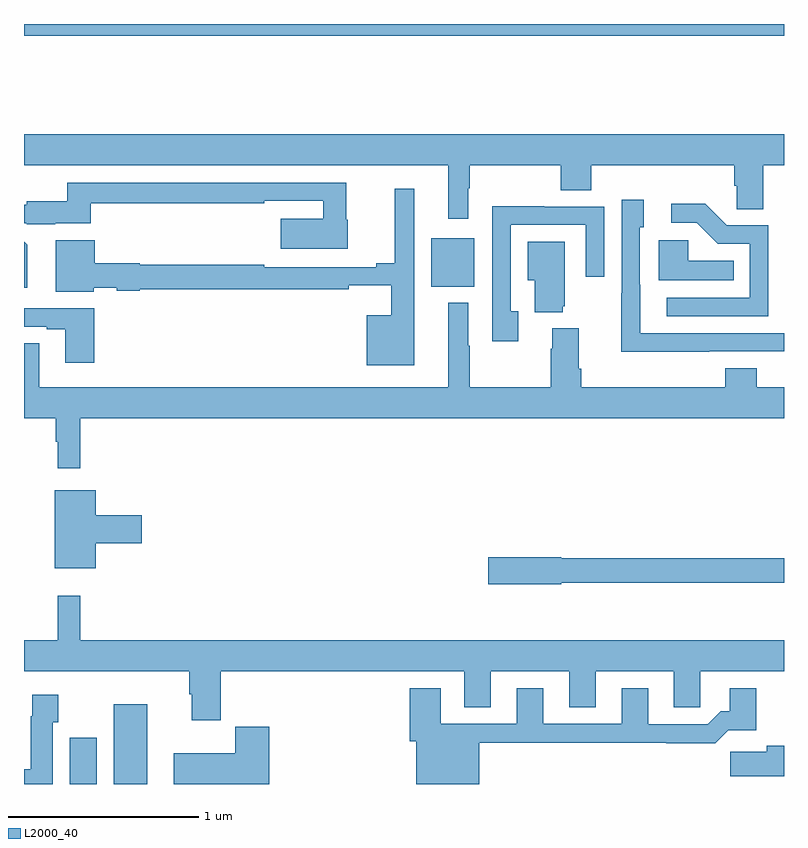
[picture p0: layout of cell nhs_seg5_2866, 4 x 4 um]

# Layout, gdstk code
import gdstk
lib = gdstk.Library(unit=1e-6, precision=1e-09)
def R(c, l, rs):  # rectangles x0, y0, x1, y1
    for r in rs: c.add(gdstk.rectangle(r[:2], r[2:], *l))
def P(c, l, *ps):  # polygons
    for p in ps: c.add(gdstk.Polygon(p, *l))
L2000_40 = (2000, 40)

nhs_seg5_2866 = lib.new_cell('nhs_seg5_2866')
R(nhs_seg5_2866, L2000_40, [(277.241,890.799,277.384,891.043), (277.472,890.799,277.648,891.22), (279.143,893.417,279.37,893.671), (277,894.736,281,894.799)])
P(nhs_seg5_2866, L2000_40, [(279.337,893.935),(279.347,893.935),(279.347,894.056),(279.826,894.056),(279.826,893.923),(279.986,893.923),(279.986,894.056),(280.739,894.056),(280.739,893.947),(280.752,893.947),(280.752,893.824),(280.891,893.824),(280.891,894.056),(281,894.056),(281,894.22),(277,894.22),(277,894.056),(279.233,894.056),(279.233,893.775),(279.337,893.775)],
  [(278.704,893.769),(278.696,893.769),(278.696,893.964),(277.227,893.964),(277.227,893.866),(277.014,893.866),(277.014,893.847),(277,893.847),(277,893.751),(277.014,893.751),(277.014,893.744),(277.164,893.744),(277.164,893.75),(277.351,893.75),(277.351,893.856),(278.264,893.856),(278.264,893.868),(278.575,893.868),(278.575,893.773),(278.352,893.773),(278.352,893.615),(278.704,893.615)],
  [(279.055,893.932),(278.951,893.932),(278.951,893.54),(278.855,893.54),(278.855,893.52),(278.264,893.52),(278.264,893.533),(277.608,893.533),(277.608,893.541),(277.372,893.541),(277.372,893.66),(277.166,893.66),(277.166,893.39),(277.368,893.39),(277.368,893.411),(277.488,893.411),(277.488,893.396),(277.608,893.396),(277.608,893.404),(278.708,893.404),(278.708,893.423),(278.934,893.423),(278.934,893.266),(278.804,893.266),(278.804,893.003),(279.055,893.003)],
  [(280.607,893.076),(281,893.076),(281,893.172),(280.243,893.172),(280.243,893.426),(280.242,893.426),(280.242,893.73),(280.261,893.73),(280.261,893.875),(280.146,893.875),(280.146,893.381),(280.144,893.381),(280.144,893.075),(280.607,893.075)],
  [(280.917,893.739),(280.698,893.739),(280.585,893.852),(280.407,893.852),(280.407,893.754),(280.541,893.754),(280.652,893.643),(280.821,893.643),(280.821,893.358),(280.383,893.358),(280.383,893.262),(280.917,893.262)],
  [(279.601,893.286),(279.561,893.286),(279.561,893.742),(279.957,893.742),(279.957,893.469),(280.053,893.469),(280.053,893.838),(279.737,893.838),(279.737,893.84),(279.465,893.84),(279.465,893.13),(279.601,893.13)],
  [(280.736,893.554),(280.497,893.554),(280.497,893.662),(280.34,893.662),(280.34,893.45),(280.736,893.45)],
  [(277.018,893.636),(277,893.654),(277,893.411),(277.018,893.411)],
  [(279.836,893.313),(279.847,893.313),(279.847,893.653),(279.65,893.653),(279.65,893.45),(279.689,893.45),(279.689,893.282),(279.836,893.282)],
  [(277.295,892.724),(281,892.724),(281,892.888),(280.856,892.888),(280.856,892.987),(280.691,892.987),(280.691,892.888),(279.932,892.888),(279.932,892.984),(279.919,892.984),(279.919,893.197),(279.779,893.197),(279.779,893.09),(279.772,893.09),(279.772,892.888),(279.347,892.888),(279.347,893.105),(279.337,893.105),(279.337,893.332),(279.233,893.332),(279.233,892.888),(277.081,892.888),(277.081,893.12),(277,893.12),(277,892.724),(277.167,892.724),(277.167,892.601),(277.178,892.601),(277.178,892.461),(277.295,892.461)],
  [(277.37,893.302),(277,893.302),(277,893.205),(277.121,893.205),(277.121,893.193),(277.217,893.193),(277.217,893.016),(277.37,893.016)],
  [(277.378,892.067),(277.621,892.067),(277.621,892.214),(277.378,892.214),(277.378,892.345),(277.163,892.345),(277.163,891.935),(277.378,891.935)],
  [(279.828,891.858),(281,891.858),(281,891.986),(279.828,891.986),(279.828,891.992),(279.444,891.992),(279.444,891.85),(279.828,891.85)],
  [(278.035,891.392),(279.317,891.392),(279.317,891.202),(279.457,891.202),(279.457,891.392),(279.869,891.392),(279.869,891.202),(280.009,891.202),(280.009,891.392),(280.421,891.392),(280.421,891.202),(280.56,891.202),(280.56,891.392),(281,891.392),(281,891.556),(277.295,891.556),(277.295,891.79),(277.178,891.79),(277.178,891.556),(277,891.556),(277,891.392),(277.871,891.392),(277.871,891.272),(277.883,891.272),(277.883,891.135),(278.035,891.135)],
  [(279.397,891.016),(280.381,891.016),(280.381,891.014),(280.637,891.014),(280.706,891.083),(280.855,891.083),(280.855,891.304),(280.715,891.304),(280.715,891.181),(280.666,891.181),(280.599,891.114),(280.285,891.114),(280.285,891.304),(280.145,891.304),(280.145,891.117),(279.733,891.117),(279.733,891.304),(279.593,891.304),(279.593,891.117),(279.193,891.117),(279.193,891.304),(279.029,891.304),(279.029,891.024),(279.065,891.024),(279.065,890.799),(279.397,890.799)],
  [(277.152,891.123),(277.179,891.123),(277.179,891.268),(277.044,891.268),(277.044,891.155),(277.036,891.155),(277.036,890.876),(277,890.876),(277,890.799),(277.152,890.799)],
  [(278.291,891.1),(278.113,891.1),(278.113,890.962),(277.787,890.962),(277.787,890.799),(278.291,890.799)],
  [(281,891.001),(280.91,891.001),(280.91,890.969),(280.716,890.969),(280.716,890.84),(281,890.84)])

lib.write_gds('nhs_seg5_2866.gds')
